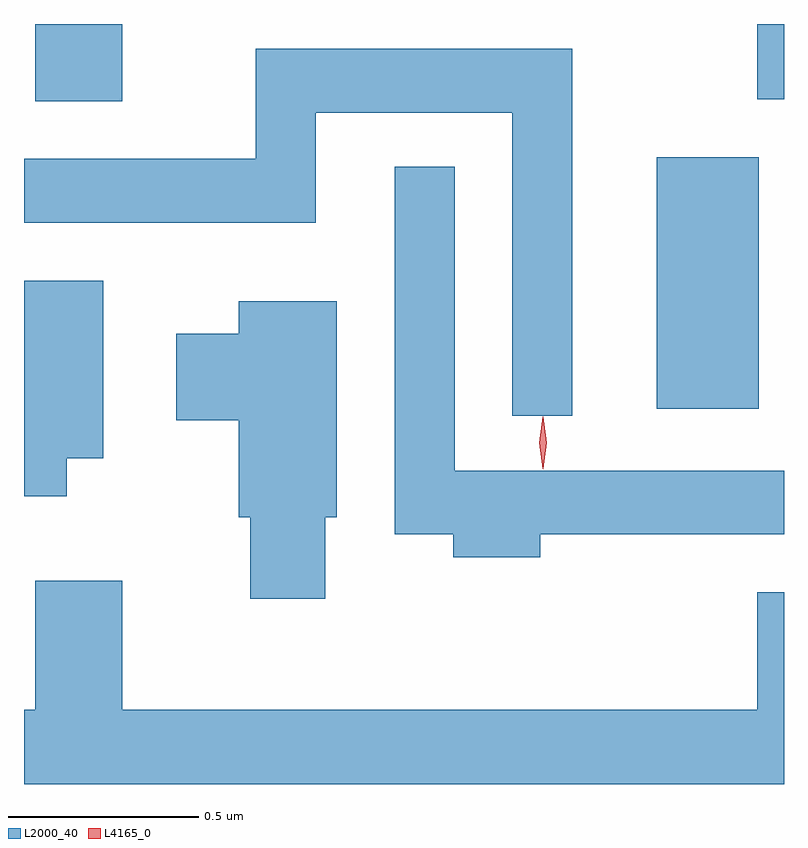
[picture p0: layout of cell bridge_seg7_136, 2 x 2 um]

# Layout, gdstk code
import gdstk
lib = gdstk.Library(unit=1e-6, precision=1e-09)
def R(c, l, rs):  # rectangles x0, y0, x1, y1
    for r in rs: c.add(gdstk.rectangle(r[:2], r[2:], *l))
def P(c, l, *ps):  # polygons
    for p in ps: c.add(gdstk.Polygon(p, *l))
L2000_40 = (2000, 40)
L4165_0 = (4165, 0)

bridge_seg7_136 = lib.new_cell('bridge_seg7_136')
R(bridge_seg7_136, L2000_40, [(1465.486,1766.436,1465.754,1767.099), (1463.851,1767.246,1464.079,1767.449), (1465.751,1767.251,1465.821,1767.449)])
P(bridge_seg7_136, L2000_40, [(1465.264,1767.384),(1464.431,1767.384),(1464.431,1767.094),(1463.821,1767.094),(1463.821,1766.926),(1464.589,1766.926),(1464.589,1767.216),(1465.106,1767.216),(1465.106,1766.418),(1465.264,1766.418)],
  [(1465.179,1766.106),(1465.821,1766.106),(1465.821,1766.274),(1464.954,1766.274),(1464.954,1767.073),(1464.796,1767.073),(1464.796,1766.106),(1464.951,1766.106),(1464.951,1766.046),(1465.179,1766.046)],
  [(1463.934,1766.306),(1464.029,1766.306),(1464.029,1766.774),(1463.821,1766.774),(1463.821,1766.206),(1463.934,1766.206)],
  [(1464.614,1766.151),(1464.644,1766.151),(1464.644,1766.719),(1464.386,1766.719),(1464.386,1766.634),(1464.221,1766.634),(1464.221,1766.406),(1464.386,1766.406),(1464.386,1766.151),(1464.416,1766.151),(1464.416,1765.936),(1464.614,1765.936)],
  [(1465.821,1765.954),(1465.751,1765.954),(1465.751,1765.644),(1464.079,1765.644),(1464.079,1765.984),(1463.851,1765.984),(1463.851,1765.644),(1463.821,1765.644),(1463.821,1765.449),(1465.821,1765.449)])
P(bridge_seg7_136, L4165_0, [(1465.187,1766.277),(1465.186,1766.278),(1465.177,1766.347),(1465.186,1766.416),(1465.187,1766.416),(1465.187,1766.416),(1465.197,1766.347),(1465.187,1766.278)])

lib.write_gds('bridge_seg7_136.gds')
